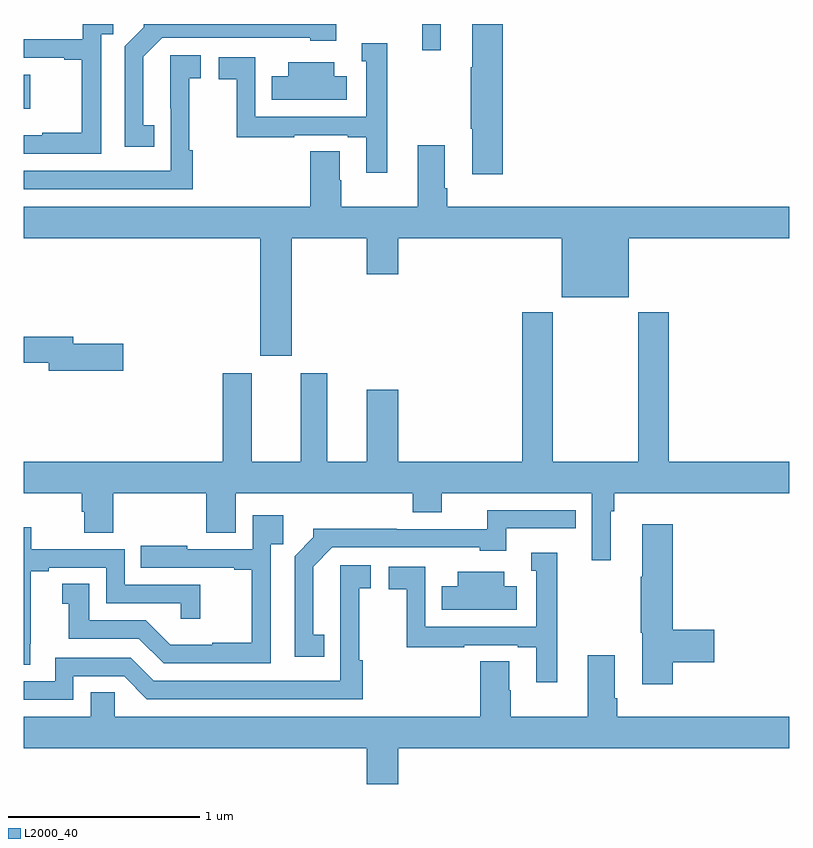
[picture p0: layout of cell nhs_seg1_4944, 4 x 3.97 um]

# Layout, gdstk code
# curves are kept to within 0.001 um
import gdstk
lib = gdstk.Library(unit=1e-6, precision=1e-09)
def R(c, l, rs):  # rectangles x0, y0, x1, y1
    for r in rs: c.add(gdstk.rectangle(r[:2], r[2:], *l))
def P(c, l, *ps):  # polygons
    for p in ps: c.add(gdstk.Polygon(p, *l))
L2000_40 = (2000, 40)

nhs_seg1_4944 = lib.new_cell('nhs_seg1_4944')
R(nhs_seg1_4944, L2000_40, [(379,537.756,379.034,537.933), (381.081,538.062,381.178,538.199)])
P(nhs_seg1_4944, L2000_40, [(379.404,538.145),(379.469,538.145),(379.469,538.199),(379.308,538.199),(379.308,538.119),(379,538.119),(379,538.023),(379.211,538.023),(379.211,538.011),(379.303,538.011),(379.303,537.631),(379.097,537.631),(379.097,537.619),(379,537.619),(379,537.522),(379.404,537.522)],
  [(379.682,537.671),(379.624,537.671),(379.624,538.027),(379.725,538.128),(380.496,538.128),(380.496,538.112),(380.632,538.112),(380.632,538.199),(379.626,538.199),(379.626,538.181),(379.527,538.082),(379.527,537.558),(379.682,537.558)],
  [(381.503,538.199),(381.344,538.199),(381.344,537.974),(381.337,537.974),(381.337,537.652),(381.344,537.652),(381.344,537.414),(381.503,537.414)],
  [(380.899,538.099),(380.765,538.099),(380.765,538.005),(380.79,538.005),(380.79,537.714),(380.211,537.714),(380.211,538.026),(380.019,538.026),(380.019,537.91),(380.113,537.91),(380.113,537.606),(380.414,537.606),(380.414,537.618),(380.693,537.618),(380.693,537.606),(380.789,537.606),(380.789,537.423),(380.899,537.423)],
  [(379.883,537.539),(379.866,537.539),(379.866,537.915),(379.924,537.915),(379.924,538.036),(379.766,538.036),(379.766,537.76),(379.767,537.76),(379.767,537.432),(379,537.432),(379,537.336),(379.883,537.336)],
  [(380.689,537.925),(380.623,537.925),(380.623,538),(380.381,538),(380.381,537.925),(380.296,537.925),(380.296,537.803),(380.689,537.803)],
  [(380.401,537.08),(380.792,537.08),(380.792,536.892),(380.956,536.892),(380.956,537.08),(381.812,537.08),(381.812,536.771),(382.162,536.771),(382.162,537.08),(383,537.08),(383,537.244),(381.212,537.244),(381.212,537.34),(381.199,537.34),(381.199,537.565),(381.059,537.565),(381.059,537.244),(380.658,537.244),(380.658,537.383),(380.65,537.383),(380.65,537.533),(380.498,537.533),(380.498,537.244),(379,537.244),(379,537.08),(380.237,537.08),(380.237,536.466),(380.401,536.466)],
  [(379,535.748),(379.304,535.748),(379.304,535.65),(379.316,535.65),(379.316,535.54),(379.469,535.54),(379.469,535.748),(379.955,535.748),(379.955,535.54),(380.107,535.54),(380.107,535.748),(381.032,535.748),(381.032,535.649),(381.184,535.649),(381.184,535.748),(381.969,535.748),(381.969,535.398),(382.066,535.398),(382.066,535.652),(382.085,535.652),(382.085,535.748),(383,535.748),(383,535.912),(382.37,535.912),(382.37,536.692),(382.21,536.692),(382.21,535.912),(381.765,535.912),(381.765,536.692),(381.605,536.692),(381.605,535.912),(380.956,535.912),(380.956,536.287),(380.792,536.287),(380.792,535.912),(380.587,535.912),(380.587,536.374),(380.447,536.374),(380.447,535.912),(380.191,535.912),(380.191,536.374),(380.039,536.374),(380.039,535.912),(379,535.912)],
  [(379.519,536.528),(379.258,536.528),(379.258,536.564),(379,536.564),(379,536.428),(379.13,536.428),(379.13,536.386),(379.519,536.386)],
  [(380.57,535.007),(380.512,535.007),(380.512,535.363),(380.613,535.464),(381.384,535.464),(381.384,535.448),(381.52,535.448),(381.52,535.563),(381.884,535.563),(381.884,535.659),(381.421,535.659),(381.421,535.56),(380.948,535.56),(380.948,535.562),(380.514,535.562),(380.514,535.517),(380.415,535.418),(380.415,534.894),(380.57,534.894)],
  [(380.292,535.481),(380.357,535.481),(380.357,535.633),(380.196,535.633),(380.196,535.455),(379.855,535.455),(379.855,535.474),(379.612,535.474),(379.612,535.359),(380.099,535.359),(380.099,535.347),(380.191,535.347),(380.191,534.967),(379.985,534.967),(379.985,534.955),(379.766,534.955),(379.638,535.083),(379.342,535.083),(379.342,535.274),(379.202,535.274),(379.202,535.171),(379.235,535.171),(379.235,534.987),(379.602,534.987),(379.731,534.858),(380.292,534.858)],
  [(382.391,534.863),(382.609,534.863),(382.609,535.034),(382.391,535.034),(382.391,535.585),(382.232,535.585),(382.232,535.31),(382.225,535.31),(382.225,535.017),(382.232,535.017),(382.232,534.75),(382.391,534.75)],
  [(379.034,534.961),(379.036,534.961),(379.036,535.339),(379.132,535.339),(379.132,535.359),(379.431,535.359),(379.431,535.173),(379.821,535.173),(379.821,535.092),(379.922,535.092),(379.922,535.269),(379.527,535.269),(379.527,535.455),(379.04,535.455),(379.04,535.569),(379,535.569),(379,534.85),(379.034,534.85)],
  [(381.787,535.435),(381.653,535.435),(381.653,535.341),(381.678,535.341),(381.678,535.05),(381.099,535.05),(381.099,535.362),(380.907,535.362),(380.907,535.246),(381.001,535.246),(381.001,534.942),(381.302,534.942),(381.302,534.954),(381.581,534.954),(381.581,534.942),(381.677,534.942),(381.677,534.759),(381.787,534.759)],
  [(379.26,534.792),(379.524,534.792),(379.644,534.672),(380.771,534.672),(380.771,534.875),(380.754,534.875),(380.754,535.251),(380.812,535.251),(380.812,535.372),(380.654,535.372),(380.655,534.768),(379.68,534.768),(379.56,534.888),(379.164,534.888),(379.164,534.765),(379,534.765),(379,534.669),(379.26,534.669)],
  [(381.577,535.261),(381.511,535.261),(381.511,535.336),(381.269,535.336),(381.269,535.261),(381.184,535.261),(381.184,535.139),(381.577,535.139)],
  [(379.476,534.707),(379.349,534.707),(379.349,534.58),(379,534.58),(379,534.416),(380.792,534.416),(380.792,534.228),(380.956,534.228),(380.956,534.416),(383,534.416),(383,534.58),(382.1,534.58),(382.1,534.676),(382.087,534.676),(382.087,534.901),(381.947,534.901),(381.947,534.58),(381.546,534.58),(381.546,534.719),(381.538,534.719),(381.538,534.869),(381.386,534.869),(381.386,534.58),(379.476,534.58)])

lib.write_gds('nhs_seg1_4944.gds')
